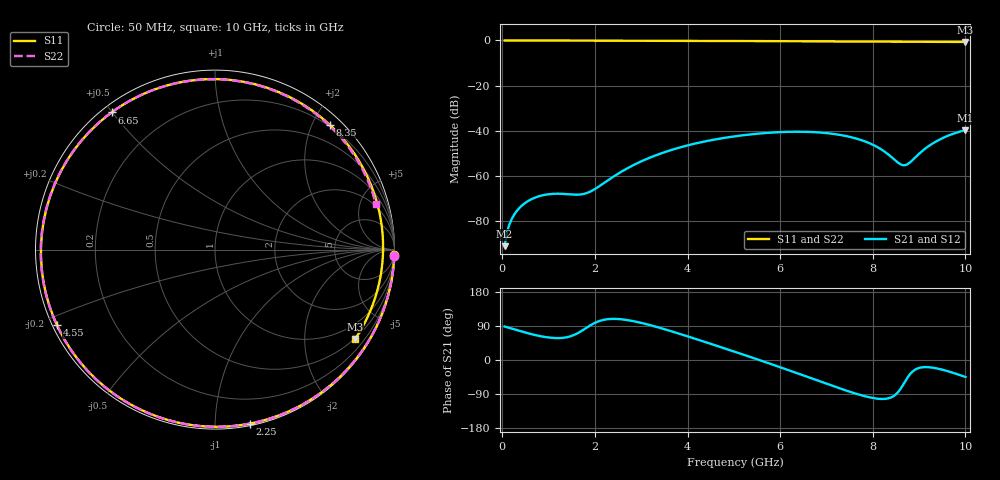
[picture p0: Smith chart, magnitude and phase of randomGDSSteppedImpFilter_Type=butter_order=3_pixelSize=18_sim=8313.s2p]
! freq	dB(S11)	phase(S11)	dB(S12)	phase(S12)
!  dB(S21)	phase(S21)	dB(S22)	phase(S22)
!S-par simulation data
#  GHz  S  DB  R 50
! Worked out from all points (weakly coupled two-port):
!   200 points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, 50 MHz to 10 GHz, reference 50 ohm
!   highest |S21| = -39.75 dB at 10 GHz (marker M1); lowest = -91.2 dB at 50 MHz (marker M2)
!   lowest |S11| = -0.7 dB at 10 GHz (marker M3), VSWR 25.92, Z = 24.2 - j168 ohm
!   |S11| at or under -10 dB: nowhere
!   |S22| runs from -0.6 to 0.0 dB; largest |S21 - S12| = 0
!   S11 on the Smith chart (normalised r, x): 50 MHz: 1, -63; 2.25 GHz: 0.01, -1.22; 4.55 GHz: 0.01, -0.23; 6.65 GHz: 0.03, +0.50; 8.35 GHz: 0.18, +2.28; 10 GHz: 0.48, -3.37
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0.05  -0.00 -1.8  -91.20 88.3  -91.20 88.3  -0.00 -1.9
0.2  -0.01 -7.2  -79.30 82.9  -79.30 82.9  -0.01 -7.5
0.4  -0.02 -14.4  -73.64 75.7  -73.64 75.7  -0.02 -15.0
0.75  -0.03 -26.9  -69.35 64.7  -69.35 64.7  -0.03 -27.9
1.1  -0.05 -39.2  -67.99 58.1  -67.99 58.1  -0.05 -40.7
1.75  -0.08 -61.7  -68.09 79.6  -68.09 79.6  -0.08 -63.7
2.25  -0.10 -78.7  -62.44 107.3  -62.44 107.3  -0.10 -80.8
2.8  -0.12 -96.9  -55.59 103.2  -55.59 103.2  -0.12 -98.9
3.4  -0.15 -116.6  -50.28 84.9  -50.28 84.9  -0.15 -118.0
4.55  -0.22 -154.5  -44.06 40.7  -44.06 40.7  -0.20 -153.5
5.05  -0.25 -171.7  -42.42 20.5  -42.42 20.5  -0.23 -168.9
5.85  -0.32 159.2  -40.80 -12.7  -40.80 -12.7  -0.29 166.0
6.65  -0.38 127.0  -40.57 -47.3  -40.57 -47.3  -0.35 139.7
6.7  -0.39 124.8  -40.61 -49.5  -40.61 -49.5  -0.35 138.0
7.15  -0.42 105.0  -41.43 -69.2  -41.43 -69.2  -0.39 122.5
7.55  -0.45 86.4  -42.98 -85.6  -42.98 -85.6  -0.42 108.2
8  -0.48 64.6  -46.22 -100.2  -46.22 -100.2  -0.45 91.6
8.35  -0.50 47.2  -50.76 -100.7  -50.76 -100.7  -0.48 78.4
8.6  -0.51 34.7  -54.92 -76.2  -54.92 -76.2  -0.50 68.9
8.7  -0.52 29.7  -55.29 -56.2  -55.29 -56.2  -0.50 65.0
9.35  -0.57 -2.2  -44.97 -21.4  -44.97 -21.4  -0.55 40.2
10  -0.67 -32.5  -39.75 -44.8  -39.75 -44.8  -0.61 15.9
